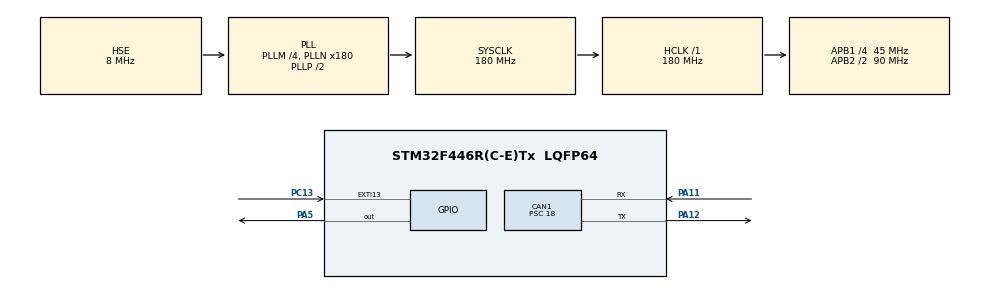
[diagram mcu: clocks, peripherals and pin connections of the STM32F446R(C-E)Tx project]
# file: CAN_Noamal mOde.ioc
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Mcu.Family=STM32F4
RCC.PLLSourceVirtual=RCC_PLLSOURCE_HSE
PH0-OSC_IN.Signal=RCC_OSC_IN
RCC.CortexFreq_Value=180000000
PC13.Signal=GPXTI13
CAN1.CalculateBaudRate=125000
PA11.Mode=CAN_Activate
RCC.APB1CLKDivider=RCC_HCLK_DIV4
RCC.SYSCLKSource=RCC_SYSCLKSOURCE_PLLCLK
ProjectManager.StackSize=0x400
PA12.Signal=CAN1_TX
CAN1.BS2=CAN_BS2_8TQ
CAN1.BS1=CAN_BS1_11TQ
ProjectManager.TargetToolchain=STM32CubeIDE
RCC.HCLKFreq_Value=180000000
RCC.APB2TimFreq_Value=180000000
RCC.USBFreq_Value=180000000
RCC.AHBFreq_Value=180000000
PH0-OSC_IN.Mode=HSE-External-Oscillator
NVIC.EXTI15_10_IRQn=true\:0\:0\:false\:false\:true\:true\:true
PA5.Signal=GPIO_Output
RCC.HSE_VALUE=8000000
board=custom
RCC.VCOOutputFreq_Value=360000000
RCC.APB2Freq_Value=90000000
PH1-OSC_OUT.Signal=RCC_OSC_OUT
Mcu.Name=STM32F446R(C-E)Tx
PH1-OSC_OUT.Mode=HSE-External-Oscillator
RCC.SYSCLKFreq_VALUE=180000000
CAN1.Prescaler=18
Mcu.Package=LQFP64
PA12.Mode=CAN_Activate
PA11.Signal=CAN1_RX
ProjectManager.HeapSize=0x200
NVIC.PriorityGroup=NVIC_PRIORITYGROUP_4
RCC.APB2CLKDivider=RCC_HCLK_DIV2
RCC.PLLM=4
RCC.PLLN=180
RCC.APB1TimFreq_Value=90000000
RCC.APB1Freq_Value=45000000
CAN1.CalculateTimeBit=8000.00
NVIC.CAN1_RX0_IRQn=true\:0\:0\:false\:false\:true\:true\:true
CAN1.CalculateTimeQuantum=400.0

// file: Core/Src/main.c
/* USER CODE BEGIN Header */
/**
  ******************************************************************************
  * @file           : main.c
  * @brief          : Main program body
  ******************************************************************************
  * @attention
  *
  * <h2><center>&copy; Copyright (c) 2021 STMicroelectronics.
  * All rights reserved.</center></h2>
  *
  * This software component is licensed by ST under BSD 3-Clause license,
  * the "License"; You may not use this file except in compliance with the
  * License. You may obtain a copy of the License at:
  *                        opensource.org/licenses/BSD-3-Clause
  *
  ******************************************************************************
  */
/* USER CODE END Header */
#include "main.h"

CAN_HandleTypeDef hcan1;

void SystemClock_Config(void);
static void MX_GPIO_Init(void);
static void MX_CAN1_Init(void);

/* USER CODE BEGIN 0 */
CAN_TxHeaderTypeDef TxHeader;
CAN_RxHeaderTypeDef RxHeader;

uint8_t TxData[8];
uint8_t RxData[8];

int datacheck = 0;

uint32_t TXMailbox;
int count = 0;

void HAL_CAN_RxFifo0MsgPendingCallback(CAN_HandleTypeDef *hcan)
{
if( HAL_CAN_GetRxMessage(hcan, CAN_RX_FIFO0, &RxHeader,RxData) != HAL_OK)

	Error_Handler();

if(RxHeader.StdId == 0x103)

	datacheck = 1;
}

void HAL_GPIO_EXTI_Callback (uint16_t GPIO_Pin)
{
if (GPIO_Pin == GPIO_PIN_13)
{
	for (uint8_t i = 0x00; i <0x08 ; i++)
		TxData[i] = i;

	  HAL_CAN_AddTxMessage(&hcan1, &TxHeader, TxData, &TXMailbox);
}
}

/* USER CODE END 0 */

int main(void)
{

  /* MCU Configuration--------------------------------------------------------*/

  /* Reset of all peripherals, Initializes the Flash interface and the Systick. */
  HAL_Init();

  /* Configure the system clock */
  SystemClock_Config();

  /* Initialize all configured peripherals */
  MX_GPIO_Init();
  MX_CAN1_Init();
  /* USER CODE BEGIN 2 */

  HAL_CAN_Start(&hcan1);
  HAL_CAN_ActivateNotification(&hcan1, CAN_IT_RX_FIFO0_MSG_PENDING);

  TxHeader.DLC = 8;
  TxHeader.IDE = CAN_ID_STD;
  TxHeader.RTR = CAN_RTR_DATA;
  TxHeader.StdId = 0x446;

  /* USER CODE END 2 */

  /* Infinite loop */
  while (1)
  {

  }
}

void SystemClock_Config(void)
{
  RCC_OscInitTypeDef RCC_OscInitStruct = {0};
  RCC_ClkInitTypeDef RCC_ClkInitStruct = {0};

  /** Configure the main internal regulator output voltage
  */
  __HAL_RCC_PWR_CLK_ENABLE();
  __HAL_PWR_VOLTAGESCALING_CONFIG(PWR_REGULATOR_VOLTAGE_SCALE1);
  /** Initializes the RCC Oscillators according to the specified parameters
  * in the RCC_OscInitTypeDef structure.
  */
  RCC_OscInitStruct.OscillatorType = RCC_OSCILLATORTYPE_HSE;
  RCC_OscInitStruct.HSEState = RCC_HSE_ON;
  RCC_OscInitStruct.PLL.PLLState = RCC_PLL_ON;
  RCC_OscInitStruct.PLL.PLLSource = RCC_PLLSOURCE_HSE;
  RCC_OscInitStruct.PLL.PLLM = 4;
  RCC_OscInitStruct.PLL.PLLN = 180;
  RCC_OscInitStruct.PLL.PLLP = RCC_PLLP_DIV2;
  RCC_OscInitStruct.PLL.PLLQ = 2;
  RCC_OscInitStruct.PLL.PLLR = 2;
  if (HAL_RCC_OscConfig(&RCC_OscInitStruct) != HAL_OK)
  {
    Error_Handler();
  }
  /** Activate the Over-Drive mode
  */
  if (HAL_PWREx_EnableOverDrive() != HAL_OK)
  {
    Error_Handler();
  }
  /** Initializes the CPU, AHB and APB buses clocks
  */
  RCC_ClkInitStruct.ClockType = RCC_CLOCKTYPE_HCLK|RCC_CLOCKTYPE_SYSCLK
                              |RCC_CLOCKTYPE_PCLK1|RCC_CLOCKTYPE_PCLK2;
  RCC_ClkInitStruct.SYSCLKSource = RCC_SYSCLKSOURCE_PLLCLK;
  RCC_ClkInitStruct.AHBCLKDivider = RCC_SYSCLK_DIV1;
  RCC_ClkInitStruct.APB1CLKDivider = RCC_HCLK_DIV4;
  RCC_ClkInitStruct.APB2CLKDivider = RCC_HCLK_DIV2;

  if (HAL_RCC_ClockConfig(&RCC_ClkInitStruct, FLASH_LATENCY_5) != HAL_OK)
  {
    Error_Handler();
  }
}

static void MX_CAN1_Init(void)
{

  hcan1.Instance = CAN1;
  hcan1.Init.Prescaler = 18;
  hcan1.Init.Mode = CAN_MODE_NORMAL;
  hcan1.Init.SyncJumpWidth = CAN_SJW_1TQ;
  hcan1.Init.TimeSeg1 = CAN_BS1_11TQ;
  hcan1.Init.TimeSeg2 = CAN_BS2_8TQ;
  hcan1.Init.TimeTriggeredMode = DISABLE;
  hcan1.Init.AutoBusOff = DISABLE;
  hcan1.Init.AutoWakeUp = DISABLE;
  hcan1.Init.AutoRetransmission = DISABLE;
  hcan1.Init.ReceiveFifoLocked = DISABLE;
  hcan1.Init.TransmitFifoPriority = DISABLE;
  if (HAL_CAN_Init(&hcan1) != HAL_OK)
  {
    Error_Handler();
  }
  /* USER CODE BEGIN CAN1_Init 2 */

  CAN_FilterTypeDef canfilterconfig;
  canfilterconfig.FilterActivation = CAN_FILTER_ENABLE;
  canfilterconfig.FilterBank = 18;
  canfilterconfig.FilterFIFOAssignment = CAN_FILTER_FIFO0;
  canfilterconfig.FilterIdHigh = 0x103 <<5 ;
  canfilterconfig.FilterIdLow = 0 ;
  canfilterconfig.FilterMaskIdHigh = 0x103 << 5;
  canfilterconfig.FilterMaskIdLow = 0x0000;
  canfilterconfig.FilterMode = CAN_FILTERMODE_IDMASK;
  canfilterconfig.FilterScale = CAN_FILTERSCALE_32BIT;
  canfilterconfig.SlaveStartFilterBank = 20;

  HAL_CAN_ConfigFilter(&hcan1, &canfilterconfig);

  /* USER CODE END CAN1_Init 2 */

}

static void MX_GPIO_Init(void)
{
  GPIO_InitTypeDef GPIO_InitStruct = {0};

  /* GPIO Ports Clock Enable */
  __HAL_RCC_GPIOC_CLK_ENABLE();
  __HAL_RCC_GPIOH_CLK_ENABLE();
  __HAL_RCC_GPIOA_CLK_ENABLE();

  /*Configure GPIO pin Output Level */
  HAL_GPIO_WritePin(GPIOA, GPIO_PIN_5, GPIO_PIN_RESET);

  /*Configure GPIO pin : PC13 */
  GPIO_InitStruct.Pin = GPIO_PIN_13;
  GPIO_InitStruct.Mode = GPIO_MODE_IT_RISING;
  GPIO_InitStruct.Pull = GPIO_NOPULL;
  HAL_GPIO_Init(GPIOC, &GPIO_InitStruct);

  /*Configure GPIO pin : PA5 */
  GPIO_InitStruct.Pin = GPIO_PIN_5;
  GPIO_InitStruct.Mode = GPIO_MODE_OUTPUT_PP;
  GPIO_InitStruct.Pull = GPIO_NOPULL;
  GPIO_InitStruct.Speed = GPIO_SPEED_FREQ_LOW;
  HAL_GPIO_Init(GPIOA, &GPIO_InitStruct);

  /* EXTI interrupt init*/
  HAL_NVIC_SetPriority(EXTI15_10_IRQn, 0, 0);
  HAL_NVIC_EnableIRQ(EXTI15_10_IRQn);

}

void Error_Handler(void)
{
  __disable_irq();
  while (1)
  {
  }
}

/************************ (C) COPYRIGHT STMicroelectronics *****END OF FILE****/
